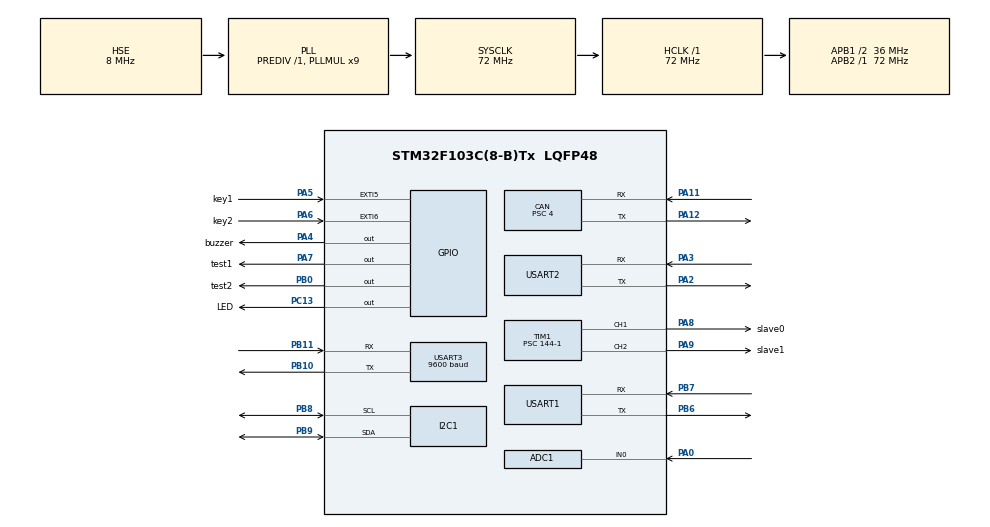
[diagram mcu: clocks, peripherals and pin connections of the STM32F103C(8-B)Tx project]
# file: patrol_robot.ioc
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ADC1.Channel-0\#ChannelRegularConversion=ADC_CHANNEL_0
ADC1.ContinuousConvMode=ENABLE
ADC1.NbrOfConversionFlag=1
ADC1.Rank-0\#ChannelRegularConversion=1
ADC1.SamplingTime-0\#ChannelRegularConversion=ADC_SAMPLETIME_71CYCLES_5
ADC1.master=1
CAN.BS1=CAN_BS1_6TQ
CAN.BS2=CAN_BS2_2TQ
CAN.CalculateBaudRate=1000000
CAN.CalculateTimeBit=1000
CAN.CalculateTimeQuantum=111.11111111111111
CAN.Prescaler=4
Dma.ADC1.0.Direction=DMA_PERIPH_TO_MEMORY
Dma.ADC1.0.Instance=DMA1_Channel1
Dma.ADC1.0.MemDataAlignment=DMA_MDATAALIGN_HALFWORD
Dma.ADC1.0.MemInc=DMA_MINC_ENABLE
Dma.ADC1.0.Mode=DMA_CIRCULAR
Dma.ADC1.0.PeriphDataAlignment=DMA_PDATAALIGN_HALFWORD
Dma.ADC1.0.PeriphInc=DMA_PINC_DISABLE
Dma.ADC1.0.Priority=DMA_PRIORITY_LOW
Dma.Request0=ADC1
Dma.Request1=USART3_RX
Dma.Request2=USART3_TX
Dma.Request3=USART1_RX
Dma.Request4=USART1_TX
Dma.Request5=USART2_RX
Dma.Request6=USART2_TX
Dma.USART1_RX.3.Direction=DMA_PERIPH_TO_MEMORY
Dma.USART1_RX.3.Instance=DMA1_Channel5
Dma.USART1_RX.3.MemDataAlignment=DMA_MDATAALIGN_BYTE
Dma.USART1_RX.3.MemInc=DMA_MINC_ENABLE
Dma.USART1_RX.3.Mode=DMA_NORMAL
Dma.USART1_RX.3.PeriphDataAlignment=DMA_PDATAALIGN_BYTE
Dma.USART1_RX.3.PeriphInc=DMA_PINC_DISABLE
Dma.USART1_RX.3.Priority=DMA_PRIORITY_LOW
Dma.USART1_TX.4.Direction=DMA_MEMORY_TO_PERIPH
Dma.USART1_TX.4.Instance=DMA1_Channel4
Dma.USART1_TX.4.MemDataAlignment=DMA_MDATAALIGN_BYTE
Dma.USART1_TX.4.MemInc=DMA_MINC_ENABLE
Dma.USART1_TX.4.Mode=DMA_NORMAL
Dma.USART1_TX.4.PeriphDataAlignment=DMA_PDATAALIGN_BYTE
Dma.USART1_TX.4.PeriphInc=DMA_PINC_DISABLE
Dma.USART1_TX.4.Priority=DMA_PRIORITY_LOW
Dma.USART2_RX.5.Direction=DMA_PERIPH_TO_MEMORY
Dma.USART2_RX.5.Instance=DMA1_Channel6
Dma.USART2_RX.5.MemDataAlignment=DMA_MDATAALIGN_BYTE
Dma.USART2_RX.5.MemInc=DMA_MINC_ENABLE
Dma.USART2_RX.5.Mode=DMA_CIRCULAR
Dma.USART2_RX.5.PeriphDataAlignment=DMA_PDATAALIGN_BYTE
Dma.USART2_RX.5.PeriphInc=DMA_PINC_DISABLE
Dma.USART2_RX.5.Priority=DMA_PRIORITY_LOW
Dma.USART2_TX.6.Direction=DMA_MEMORY_TO_PERIPH
Dma.USART2_TX.6.Instance=DMA1_Channel7
Dma.USART2_TX.6.MemDataAlignment=DMA_MDATAALIGN_BYTE
Dma.USART2_TX.6.MemInc=DMA_MINC_ENABLE
Dma.USART2_TX.6.Mode=DMA_NORMAL
Dma.USART2_TX.6.PeriphDataAlignment=DMA_PDATAALIGN_BYTE
Dma.USART2_TX.6.PeriphInc=DMA_PINC_DISABLE
Dma.USART2_TX.6.Priority=DMA_PRIORITY_LOW
Dma.USART3_RX.1.Direction=DMA_PERIPH_TO_MEMORY
Dma.USART3_RX.1.Instance=DMA1_Channel3
Dma.USART3_RX.1.MemDataAlignment=DMA_MDATAALIGN_BYTE
Dma.USART3_RX.1.MemInc=DMA_MINC_ENABLE
Dma.USART3_RX.1.Mode=DMA_NORMAL
Dma.USART3_RX.1.PeriphDataAlignment=DMA_PDATAALIGN_BYTE
Dma.USART3_RX.1.PeriphInc=DMA_PINC_DISABLE
Dma.USART3_RX.1.Priority=DMA_PRIORITY_LOW
Dma.USART3_TX.2.Direction=DMA_MEMORY_TO_PERIPH
Dma.USART3_TX.2.Instance=DMA1_Channel2
Dma.USART3_TX.2.MemDataAlignment=DMA_MDATAALIGN_BYTE
Dma.USART3_TX.2.MemInc=DMA_MINC_ENABLE
Dma.USART3_TX.2.Mode=DMA_NORMAL
Dma.USART3_TX.2.PeriphDataAlignment=DMA_PDATAALIGN_BYTE
Dma.USART3_TX.2.PeriphInc=DMA_PINC_DISABLE
Dma.USART3_TX.2.Priority=DMA_PRIORITY_LOW
I2C1.I2C_Mode=I2C_Fast
Mcu.Family=STM32F1
Mcu.Name=STM32F103C(8-B)Tx
Mcu.Package=LQFP48
NVIC.CAN1_RX1_IRQn=true\:13\:0\:true\:false\:true\:true\:true\:true
NVIC.DMA1_Channel1_IRQn=true\:0\:0\:false\:false\:true\:false\:true\:true
NVIC.DMA1_Channel2_IRQn=true\:0\:0\:false\:false\:true\:false\:true\:true
NVIC.DMA1_Channel3_IRQn=true\:0\:0\:false\:false\:true\:false\:true\:true
NVIC.DMA1_Channel4_IRQn=true\:0\:0\:false\:false\:true\:false\:true\:true
NVIC.DMA1_Channel5_IRQn=true\:0\:0\:false\:false\:true\:false\:true\:true
NVIC.DMA1_Channel6_IRQn=true\:0\:0\:false\:false\:true\:false\:true\:true
NVIC.DMA1_Channel7_IRQn=true\:0\:0\:false\:false\:true\:false\:true\:true
NVIC.EXTI9_5_IRQn=true\:15\:0\:true\:false\:true\:true\:true\:true
NVIC.PriorityGroup=NVIC_PRIORITYGROUP_4
NVIC.TIM3_IRQn=true\:12\:0\:true\:false\:true\:true\:true\:true
NVIC.TIM4_IRQn=true\:12\:0\:true\:false\:true\:true\:true\:true
NVIC.USART1_IRQn=true\:14\:0\:true\:false\:true\:true\:true\:true
NVIC.USART3_IRQn=true\:14\:0\:true\:false\:true\:true\:true\:true
NVIC.USB_LP_CAN1_RX0_IRQn=true\:13\:0\:true\:false\:true\:true\:true\:true
PA0-WKUP.Signal=ADCx_IN0
PA11.Mode=CAN_Activate
PA11.Signal=CAN_RX
PA12.Mode=CAN_Activate
PA12.Signal=CAN_TX
PA13.Mode=Serial_Wire
PA13.Signal=SYS_JTMS-SWDIO
PA14.Mode=Serial_Wire
PA14.Signal=SYS_JTCK-SWCLK
PA2.Mode=Asynchronous
PA2.Signal=USART2_TX
PA3.Mode=Asynchronous
PA3.Signal=USART2_RX
PA4.GPIO_Label=buzzer
PA4.Signal=GPIO_Output
PA5.GPIO_Label=key1
PA5.GPIO_ModeDefaultEXTI=GPIO_MODE_IT_FALLING
PA5.GPIO_PuPd=GPIO_PULLUP
PA5.Signal=GPXTI5
PA6.GPIO_Label=key2
PA6.GPIO_ModeDefaultEXTI=GPIO_MODE_IT_FALLING
PA6.GPIO_PuPd=GPIO_PULLUP
PA6.Signal=GPXTI6
PA7.GPIO_Label=test1
PA7.Signal=GPIO_Output
PA8.GPIO_Label=slave0
PA8.Signal=S_TIM1_CH1
PA9.GPIO_Label=slave1
PA9.Signal=S_TIM1_CH2
PB0.GPIO_Label=test2
PB0.Signal=GPIO_Output
PB10.Mode=Asynchronous
PB10.Signal=USART3_TX
PB11.Mode=Asynchronous
PB11.Signal=USART3_RX
PB6.Mode=Asynchronous
PB6.Signal=USART1_TX
PB7.Mode=Asynchronous
PB7.Signal=USART1_RX
PB8.Mode=I2C
PB8.Signal=I2C1_SCL
PB9.Mode=I2C
PB9.Signal=I2C1_SDA
PC13-TAMPER-RTC.GPIO_Label=LED
PC13-TAMPER-RTC.GPIO_Speed=GPIO_SPEED_FREQ_HIGH
PC13-TAMPER-RTC.PinState=GPIO_PIN_SET
PC13-TAMPER-RTC.Signal=GPIO_Output
PD0-OSC_IN.Mode=HSE-External-Oscillator
PD0-OSC_IN.Signal=RCC_OSC_IN
PD1-OSC_OUT.Mode=HSE-External-Oscillator
PD1-OSC_OUT.Signal=RCC_OSC_OUT
ProjectManager.HeapSize=0x200
ProjectManager.StackSize=0x400
ProjectManager.TargetToolchain=CMake
RCC.ADCPresc=RCC_ADCPCLK2_DIV6
RCC.AHBFreq_Value=72000000
RCC.APB1CLKDivider=RCC_HCLK_DIV2
RCC.APB1Freq_Value=36000000
RCC.APB1TimFreq_Value=72000000
RCC.APB2Freq_Value=72000000
RCC.APB2TimFreq_Value=72000000
RCC.HCLKFreq_Value=72000000
RCC.PLLMUL=RCC_PLL_MUL9
RCC.PLLSourceVirtual=RCC_PLLSOURCE_HSE
RCC.SYSCLKFreq_VALUE=72000000
RCC.SYSCLKSource=RCC_SYSCLKSOURCE_PLLCLK
RCC.USBFreq_Value=72000000
SH.ADCx_IN0.0=ADC1_IN0,IN0
SH.S_TIM1_CH1.0=TIM1_CH1,PWM Generation1 CH1
SH.S_TIM1_CH2.0=TIM1_CH2,PWM Generation2 CH2
TIM1.Channel-PWM\ Generation1\ CH1=TIM_CHANNEL_1
TIM1.Channel-PWM\ Generation2\ CH2=TIM_CHANNEL_2
TIM1.Period=10000-1
TIM1.Prescaler=144-1
TIM3.Period=1000-1
TIM3.Prescaler=720-1
TIM4.Period=10000-1
TIM4.Prescaler=144-1
USART1.VirtualMode=VM_ASYNC
USART2.VirtualMode=VM_ASYNC
USART3.BaudRate=9600
USART3.VirtualMode=VM_ASYNC
VP_TIM1_VS_ClockSourceINT.Mode=Internal
VP_TIM3_VS_ClockSourceINT.Mode=Internal
VP_TIM4_VS_ClockSourceINT.Mode=Internal
board=custom

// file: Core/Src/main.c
/* USER CODE BEGIN Header */
/**
  ******************************************************************************
  * @file           : main.c
  * @brief          : Main program body
  ******************************************************************************
  * @attention
  *
  * Copyright (c) 2026 STMicroelectronics.
  * All rights reserved.
  *
  * This software is licensed under terms that can be found in the LICENSE file
  * in the root directory of this software component.
  * If no LICENSE file comes with this software, it is provided AS-IS.
  *
  ******************************************************************************
  */
/* USER CODE END Header */
#include "main.h"
#include "adc.h"
#include "can.h"
#include "dma.h"
#include "i2c.h"
#include "tim.h"
#include "usart.h"
#include "gpio.h"

/* USER CODE BEGIN Includes */
#include "string.h"
#include "math.h"
#include "stdio.h"

#include "speed_PID.h"
#include "simple_CAN.h"
#include "angle_unwrap.h"
#include "car_sport.h"
#include "mix_algorithm.h"

#include "oled.h"
#include "JY901S.h"
#include "brushless_motor.h"
#include "slave.h"
#include "move.h"

/* Delete dubug.h to remove the temporary single-character commands. */
#if defined(__has_include)
#if __has_include("dubug.h")
#include "dubug.h"
#define DUBUG_COMMANDS_ENABLED 1
#endif
#endif

#ifndef DUBUG_COMMANDS_ENABLED
#define DUBUG_COMMANDS_ENABLED 0
#endif
/* USER CODE END Includes */

/* USER CODE BEGIN PV */
extern DMA_HandleTypeDef hdma_usart1_rx;
extern DMA_HandleTypeDef hdma_usart1_tx;
extern DMA_HandleTypeDef hdma_usart3_rx;
extern DMA_HandleTypeDef hdma_usart3_tx;

/* 电池电压采样与滤波 */
uint16_t input_value;
float input_voltage, filtered_Voltage = 0;
int input_voltage_count = 0;
float filtered_voltage_alpha = 0.05f;

/* 串口接收缓冲区：
 * huart1 连接 HC-05，模拟正式上位机
 * huart3 连接 HC-04，用于 VOFA 调试 */
uint8_t debugReceiveData[64];
uint8_t upperReceiveData[128];
uint16_t dataSize = 0;

/* OLED 显示缓存 */
char data1[50], data2[50], data3[50], data4[50], data5[50];

typedef struct
{
  float channel[11];
  uint32_t tail;
} VofaJustFloatFrame;

_Static_assert(sizeof(VofaJustFloatFrame) == 48U, "VOFA JustFloat frame size must be 48 bytes");

static VofaJustFloatFrame vofa_frame;

/* IMU 解算结果 */
IMUData imuData;

/* 当前底盘目标值 */
Target target = {0,0,0,0,0,0,0,0,0};

/* 调试值 */
int16_t L_voltage = 0, R_voltage = 0;
int start = 0;
float p = 88.0f, i = 28.0f, d = 0.8f;

/* USART1 是否向 HC-05 发送正式里程和状态反馈。 */
static const uint8_t kEnableUpperUartFeedback = 1U;
static uint32_t vofa_last_tx_tick = 0U;
/* USER CODE END PV */

void SystemClock_Config(void);
/* USER CODE BEGIN PFP */
static float NormalizeDisplayAngle(float angle);
static bool HandleVofaTuningCommand(uint8_t *data, uint16_t size);

/* USER CODE END PFP */

/* USER CODE BEGIN 0 */
static float NormalizeDisplayAngle(float angle)
{
  while (angle >= 180.0f)
  {
    angle -= 360.0f;
  }

  while (angle < -180.0f)
  {
    angle += 360.0f;
  }

  return angle;
}

static bool HandleVofaTuningCommand(uint8_t *data, uint16_t size)
{
  float value;

  if ((data == NULL) || (size < 3U) || (data[1] != ':'))
  {
    return false;
  }

  value = safe_extract_float((char *)data);

  switch (data[0])
  {
    case 'A':
      straight_yaw_kp = value;
      return true;

    case 'B':
      straight_yaw_kd = value;
      return true;

    case 'C':
      straight_vision_kp = value;
      return true;

    case 'G':
      straight_imu_enabled = (value >= 0.5f) ? 1U : 0U;
      return true;

    case 'V':
      straight_vision_enabled = (value >= 0.5f) ? 1U : 0U;
      return true;

    case 'P':
      p = value;
      PID_change(p, i, d);
      return true;

    case 'I':
      i = value;
      PID_change(p, i, d);
      return true;

    case 'D':
      d = value;
      PID_change(p, i, d);
      return true;

    case 'S':
      target.speed_L = value;
      target.speed_R = value;
      return true;

    default:
      return false;
  }
}

void HAL_TIM_PeriodElapsedCallback(TIM_HandleTypeDef *htim)
{
  /* TIM4 是 20ms 一次的底盘控制周期 */
  if (htim == &htim4)
  {
    /* 先更新传感器和电机当前状态 */
    Read_IMU_Data();
    Motor_data_calculation();

    /* 再执行上位机运动逻辑：
     * 巡航 / 转向 / 里程反馈 都在这里更新 */
    Move_Process20ms();

    if (start != 0)
    {
      /* 左右轮速度环，输出扭矩 */
      target.torque_L = speed_pid_L(&leftWheel.speed, target.speed_L);
      target.torque_R = speed_pid_R(&rightWheel.speed, target.speed_R);
      /* 把目标扭矩写入电机对象并通过 CAN 发出去 */
      Motor_SetTorque(&leftWheel, target.torque_L);
      Motor_SetTorque(&rightWheel, target.torque_R);
      Motor_SendTask(&leftWheel, &rightWheel, &filtered_Voltage, &L_voltage, &R_voltage);
    }
    else
    {
      /* 停车时持续发 0 扭矩，确保电机真正停下 */
      target.torque_L = 0.0f;
      target.torque_R = 0.0f;
      Motor_SetTorque(&leftWheel, 0.0f);
      Motor_SetTorque(&rightWheel, 0.0f);
      Motor_SendTask(&leftWheel, &rightWheel, &filtered_Voltage, &L_voltage, &R_voltage);
    }
  }

  /* TIM3 用于舵机平滑移动 */
  if (htim == &htim3)
  {
    if (slave_0.status)
    {
      if (slave_0.work_times > slave_0.work)
      {
        slave_0.work++;
        slave_0.crr_value = slave_0.crr_value + slave_0.work_ccr;
        __HAL_TIM_SET_COMPARE(&htim1, TIM_CHANNEL_1, slave_0.crr_value);
      }
      else
      {
        __HAL_TIM_SET_COMPARE(&htim1, TIM_CHANNEL_1, (uint32_t)slave_0.PWM);
        reset_slave(&slave_0);
      }
    }

    if (slave_1.status)
    {
      if (slave_1.work_times > slave_1.work)
      {
        slave_1.work++;
        slave_1.crr_value = slave_1.crr_value + slave_1.work_ccr;
        __HAL_TIM_SET_COMPARE(&htim1, TIM_CHANNEL_2, slave_1.crr_value);
      }
      else
      {
        __HAL_TIM_SET_COMPARE(&htim1, TIM_CHANNEL_2, (uint32_t)slave_1.PWM);
        reset_slave(&slave_1);
      }
    }

    if (slave_0.status == 0 && slave_1.status == 0)
    {
      HAL_TIM_Base_Stop_IT(&htim3);
    }
  }
}

void HAL_UARTEx_RxEventCallback(UART_HandleTypeDef *huart, uint16_t Size)
{
  dataSize = Size;

  /* huart3 连接 HC-04，是 VOFA 调试串口
   *
   * 这里支持的不是正式上位机协议，而是简单调试命令：
   * 1. S:20  让左右轮都按 20cm/s 直行
   * 2. P:xx  改 PID 的 P
   * 3. I:xx  改 PID 的 I
   * 4. D:xx  改 PID 的 D
   * 5. A:xx / B:xx 调直行航向 P / D
   * 6. C:xx 调视觉 P，V:0 / V:1 关闭或开启视觉辅助
   * 7. 也兼容老的二进制双轮速度格式 */
  if (huart == &huart3)
  {
    if (dataSize < sizeof(debugReceiveData))
    {
      debugReceiveData[dataSize] = '\0';
    }
    else
    {
      debugReceiveData[sizeof(debugReceiveData) - 1] = '\0';
    }

    /* 老格式：
     * [0xA5][float speed_L][float speed_R]
     * 直接给左右轮速度 */
    if (debugReceiveData[0] == 0xA5)
    {
      memcpy(&target.speed_L, &debugReceiveData[1], sizeof(target.speed_L));
      memcpy(&target.speed_R, &debugReceiveData[5], sizeof(target.speed_R));
    }

    /* 文本调试命令 */
    if (!HandleVofaTuningCommand(debugReceiveData, dataSize))
    {
      if (debugReceiveData[0] == 1U)
      {
        PID_out_clear();
      }
    }

    /* 重新打开蓝牙串口 DMA 接收 */
    HAL_UART_AbortReceive(&huart3);
    memset(debugReceiveData, 0, sizeof(debugReceiveData));
    HAL_UARTEx_ReceiveToIdle_DMA(&huart3, debugReceiveData, sizeof(debugReceiveData));
    __HAL_DMA_DISABLE_IT(&hdma_usart3_rx, DMA_IT_HT);
  }

  /* huart1 连接 HC-05，是正式上位机协议串口
   * 收到的原始字节流交给 move 模块去拆包和执行 */
  if (huart == &huart1)
  {
#if DUBUG_COMMANDS_ENABLED
    if (!Dubug_HandleCommand(upperReceiveData, Size))
    {
      Move_InputBytes(upperReceiveData, Size);
    }
#else
    Move_InputBytes(upperReceiveData, Size);
#endif
    HAL_UART_AbortReceive(&huart1);
    memset(upperReceiveData, 0, sizeof(upperReceiveData));
    HAL_UARTEx_ReceiveToIdle_DMA(&huart1, upperReceiveData, sizeof(upperReceiveData));
    __HAL_DMA_DISABLE_IT(&hdma_usart1_rx, DMA_IT_HT);
  }
}

void HAL_GPIO_EXTI_Callback(uint16_t GPIO_Pin)
{
  /* 按键 1：人工启动
   * 按键 2：人工急停 */
  HAL_Delay(10);
  if (HAL_GPIO_ReadPin(key1_GPIO_Port, key1_Pin) == GPIO_PIN_RESET)
  {
    HAL_Delay(100);
    start++;
    while (HAL_GPIO_ReadPin(key1_GPIO_Port, key1_Pin) == GPIO_PIN_RESET);
  }

  if (HAL_GPIO_ReadPin(key2_GPIO_Port, key2_Pin) == GPIO_PIN_RESET)
  {
    HAL_Delay(100);
    Move_EmergencyStop();
    while (HAL_GPIO_ReadPin(key2_GPIO_Port, key2_Pin) == GPIO_PIN_RESET);
  }
}
/* USER CODE END 0 */

int main(void)
{

  /* MCU Configuration--------------------------------------------------------*/

  /* Reset of all peripherals, Initializes the Flash interface and the Systick. */
  HAL_Init();

  /* Configure the system clock */
  SystemClock_Config();

  /* Initialize all configured peripherals */
  MX_GPIO_Init();
  MX_DMA_Init();
  MX_ADC1_Init();
  MX_CAN_Init();
  MX_I2C1_Init();
  MX_TIM1_Init();
  MX_USART1_UART_Init();
  MX_USART2_UART_Init();
  MX_USART3_UART_Init();
  MX_TIM4_Init();
  MX_TIM3_Init();
  /* USER CODE BEGIN 2 */
  CAN_Init(&hcan);
  CAN_Filter_Mask_Config(&hcan, CAN_FILTER(13) | CAN_FIFO_1 | CAN_STDID | CAN_DATA_TYPE, 0x100, 0x7F8);
  Motor_InitAll();

  HAL_Delay(20);
  OLED_Init();
  /* IMU 走 USART2，HC-04/VOFA 调试走 USART3 */
  Gyroscope_Init(&huart2, &huart3);

  HAL_ADCEx_Calibration_Start(&hadc1);
  HAL_ADC_Start_DMA(&hadc1, (uint32_t *)&input_value, 1);

  /* 启动两个串口的 DMA 接收 */
  HAL_UARTEx_ReceiveToIdle_DMA(&huart3, debugReceiveData, sizeof(debugReceiveData));
  __HAL_DMA_DISABLE_IT(&hdma_usart3_rx, DMA_IT_HT);
  HAL_UARTEx_ReceiveToIdle_DMA(&huart1, upperReceiveData, sizeof(upperReceiveData));
  __HAL_DMA_DISABLE_IT(&hdma_usart1_rx, DMA_IT_HT);

  /* 舵机初始化 + move 模块初始化 + 开启 20ms 控制周期 */
  slave_Init();
  Move_Init(&huart1);
  HAL_TIM_Base_Start_IT(&htim4);
  /* USER CODE END 2 */

  /* Infinite loop */
  /* USER CODE BEGIN WHILE */
  while (1)
  {
    /*
     * 把显示给人看的 yaw 角限制到 [-180, 180)。
     * 这里只影响 OLED 和蓝牙调试输出，不改 imuData.yaw 内部值，
     * 因此不会影响 move.c 里的原地转向和边走边转控制。
     */
    float yaw = NormalizeDisplayAngle(imuData.yaw);
    /* OLED 上显示当前速度、输出、电压、姿态等调试信息 */
    sprintf(data1, "%.2f,%.2f,%.2f,%.2f", p, i, d, target.speed_L);
    sprintf(data2, "R%.2f,L%.2f", rightWheel.speed, leftWheel.speed);
    sprintf(data3, "out:%d,%d", L_voltage, R_voltage);
    sprintf(data4, "vol:%.2f", filtered_Voltage);
    sprintf(data5, "y%.2f,r%.2f", yaw, imuData.roll);
    OLED_NewFrame();
    OLED_PrintASCIIString(0, 0, data2, &afont12x6, OLED_COLOR_NORMAL);
    OLED_PrintASCIIString(0, 12, data1, &afont12x6, OLED_COLOR_NORMAL);
    OLED_PrintASCIIString(0, 24, data4, &afont12x6, OLED_COLOR_NORMAL);
    OLED_PrintASCIIString(0, 36, data5, &afont12x6, OLED_COLOR_NORMAL);
    OLED_PrintASCIIString(0, 48, data3, &afont12x6, OLED_COLOR_NORMAL);
    OLED_ShowFrame();
    HAL_Delay(5);

    /* USART1 通过 HC-05 向正式上位机发送里程和状态反馈。 */
    if (kEnableUpperUartFeedback != 0U)
    {
      Move_UartTask();
    }

    /*
     * HC-04 on USART3 -> VOFA+ JustFloat, 10 Hz, channel order:
     * yaw,target_yaw,yaw_error,imu_correction,
     * vision_error,vision_correction,total_correction,
     * target_left,target_right,actual_left,actual_right
     */
    if (((uint32_t)(HAL_GetTick() - vofa_last_tx_tick) >= 100U) &&
        (huart3.gState == HAL_UART_STATE_READY))
    {
      vofa_frame.channel[0] = imuData.yaw;
      vofa_frame.channel[1] = straight_target_yaw;
      vofa_frame.channel[2] = straight_yaw_error;
      vofa_frame.channel[3] = straight_imu_correction;
      vofa_frame.channel[4] = vision_error;
      vofa_frame.channel[5] = vision_correction;
      vofa_frame.channel[6] = straight_total_correction;
      vofa_frame.channel[7] = target.speed_L;
      vofa_frame.channel[8] = target.speed_R;
      vofa_frame.channel[9] = leftWheel.speed;
      vofa_frame.channel[10] = rightWheel.speed;
      vofa_frame.tail = 0x7F800000U;

      vofa_last_tx_tick = HAL_GetTick();
      HAL_UART_Transmit_DMA(&huart3,
                            (uint8_t *)&vofa_frame,
                            (uint16_t)sizeof(vofa_frame));
    }

    HAL_GPIO_TogglePin(LED_GPIO_Port, LED_Pin);

    /* 电池低压告警 */
    input_voltage = (float)input_value / 4095.0f * 3.3f * 5.7f;
    filtered_Voltage = filtered_voltage_alpha * input_voltage + (1.0f - filtered_voltage_alpha) * filtered_Voltage;
    if (filtered_Voltage <= 11.15f)
    {
      input_voltage_count++;
      if (input_voltage_count == 100)
      {
        HAL_GPIO_WritePin(buzzer_GPIO_Port, buzzer_Pin, GPIO_PIN_SET);
      }
    }
    else
    {
      input_voltage_count = 0;
      HAL_GPIO_WritePin(buzzer_GPIO_Port, buzzer_Pin, GPIO_PIN_RESET);
    }
    /* USER CODE END WHILE */

  }
}

void SystemClock_Config(void)
{
  RCC_OscInitTypeDef RCC_OscInitStruct = {0};
  RCC_ClkInitTypeDef RCC_ClkInitStruct = {0};
  RCC_PeriphCLKInitTypeDef PeriphClkInit = {0};

  /** Initializes the RCC Oscillators according to the specified parameters
  * in the RCC_OscInitTypeDef structure.
  */
  RCC_OscInitStruct.OscillatorType = RCC_OSCILLATORTYPE_HSE;
  RCC_OscInitStruct.HSEState = RCC_HSE_ON;
  RCC_OscInitStruct.HSEPredivValue = RCC_HSE_PREDIV_DIV1;
  RCC_OscInitStruct.HSIState = RCC_HSI_ON;
  RCC_OscInitStruct.PLL.PLLState = RCC_PLL_ON;
  RCC_OscInitStruct.PLL.PLLSource = RCC_PLLSOURCE_HSE;
  RCC_OscInitStruct.PLL.PLLMUL = RCC_PLL_MUL9;
  if (HAL_RCC_OscConfig(&RCC_OscInitStruct) != HAL_OK)
  {
    Error_Handler();
  }

  /** Initializes the CPU, AHB and APB buses clocks
  */
  RCC_ClkInitStruct.ClockType = RCC_CLOCKTYPE_HCLK|RCC_CLOCKTYPE_SYSCLK
                              |RCC_CLOCKTYPE_PCLK1|RCC_CLOCKTYPE_PCLK2;
  RCC_ClkInitStruct.SYSCLKSource = RCC_SYSCLKSOURCE_PLLCLK;
  RCC_ClkInitStruct.AHBCLKDivider = RCC_SYSCLK_DIV1;
  RCC_ClkInitStruct.APB1CLKDivider = RCC_HCLK_DIV2;
  RCC_ClkInitStruct.APB2CLKDivider = RCC_HCLK_DIV1;

  if (HAL_RCC_ClockConfig(&RCC_ClkInitStruct, FLASH_LATENCY_2) != HAL_OK)
  {
    Error_Handler();
  }
  PeriphClkInit.PeriphClockSelection = RCC_PERIPHCLK_ADC;
  PeriphClkInit.AdcClockSelection = RCC_ADCPCLK2_DIV6;
  if (HAL_RCCEx_PeriphCLKConfig(&PeriphClkInit) != HAL_OK)
  {
    Error_Handler();
  }
}

void Error_Handler(void)
{
  __disable_irq();
  while (1)
  {
  }
}
